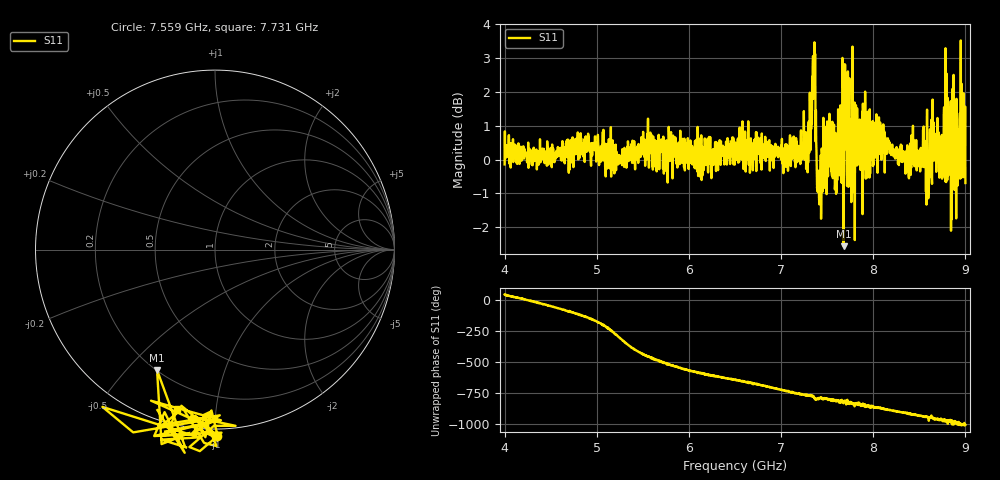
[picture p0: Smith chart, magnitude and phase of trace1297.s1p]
! Created with skrf 1.8.0 (http://scikit-rf.org).
# Hz S RI R 50.0
!freq ReS11 ImS11
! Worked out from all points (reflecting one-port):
!   1601 points, 4 GHz to 9 GHz, reference 50 ohm
!   lowest |S11| = -2.6 dB at 7.678 GHz (marker M1), VSWR 6.84, Z = 10.1 - j30.5 ohm
!   phase of S11 starts at 41 deg and turns -1051 deg over the sweep
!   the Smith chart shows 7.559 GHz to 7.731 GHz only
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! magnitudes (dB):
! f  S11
! 4 GHz  -0.1
! 4.625 GHz  0.3
! 4.897 GHz  0.3
! 5.25 GHz  0.1
! 5.572 GHz  0.2
! 5.875 GHz  -0.2
! 6.5 GHz  0.3
! 7.125 GHz  0.6
! 7.281 GHz  0.3
! 7.309 GHz  0.6
! 7.347 GHz  3.1
! 7.362 GHz  3.5
! 7.412 GHz  -1.2
! 7.512 GHz  0.3
! 7.609 GHz  -0.6
! 7.678 GHz  -2.6
! 7.75 GHz  0.7
! 7.784 GHz  -0.3
! 8.097 GHz  0.3
! 8.375 GHz  0.0
! 8.541 GHz  0.9
! 8.597 GHz  -1.1
! 8.641 GHz  1.0
! 8.738 GHz  0.0
! 8.788 GHz  -0.3
! 8.875 GHz  0.6
! 8.959 GHz  2.2
! 9 GHz  -0.7
